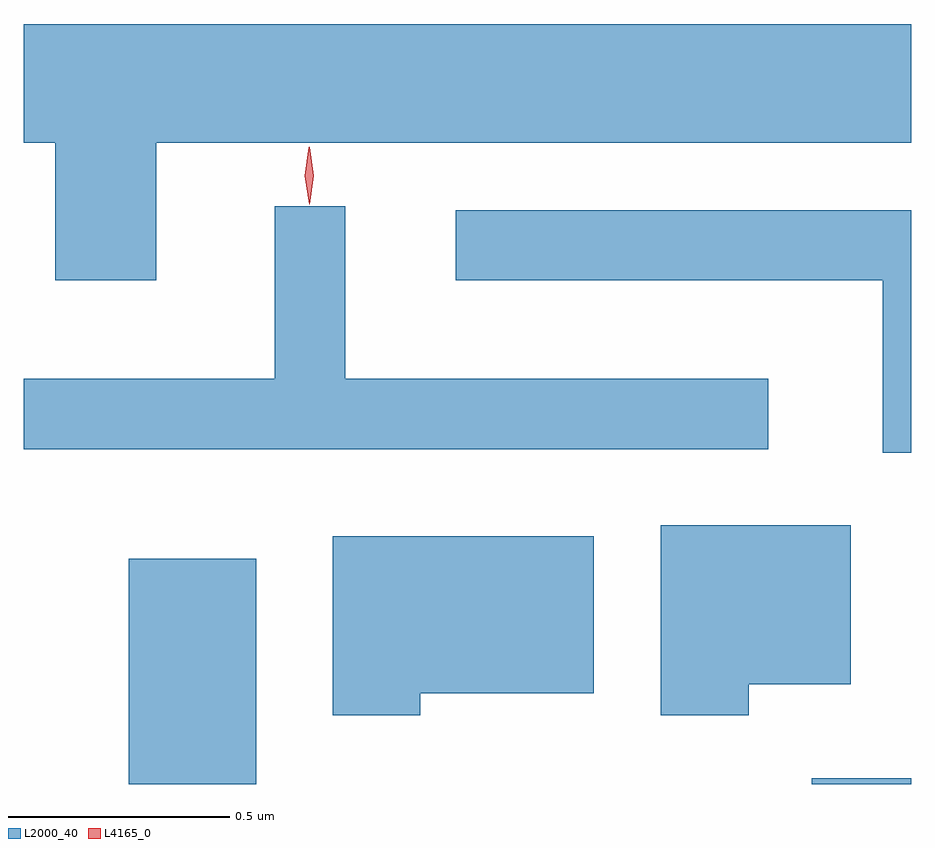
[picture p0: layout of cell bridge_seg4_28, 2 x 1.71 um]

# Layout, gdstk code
import gdstk
lib = gdstk.Library(unit=1e-6, precision=1e-09)
def R(c, l, rs):  # rectangles x0, y0, x1, y1
    for r in rs: c.add(gdstk.rectangle(r[:2], r[2:], *l))
def P(c, l, *ps):  # polygons
    for p in ps: c.add(gdstk.Polygon(p, *l))
L2000_40 = (2000, 40)
L4165_0 = (4165, 0)

bridge_seg4_28 = lib.new_cell('bridge_seg4_28')
R(bridge_seg4_28, L2000_40, [(1169.066,1268.871,1169.354,1269.379), (1170.606,1268.871,1170.83,1268.884)])
P(bridge_seg4_28, L2000_40, [(1169.129,1270.316),(1170.83,1270.316),(1170.83,1270.584),(1168.83,1270.584),(1168.83,1270.316),(1168.901,1270.316),(1168.901,1270.006),(1169.129,1270.006)],
  [(1170.508,1269.784),(1169.554,1269.784),(1169.554,1270.173),(1169.396,1270.173),(1169.396,1269.784),(1168.83,1269.784),(1168.83,1269.626),(1170.508,1269.626)],
  [(1170.83,1270.164),(1169.803,1270.164),(1169.803,1270.006),(1170.766,1270.006),(1170.766,1269.618),(1170.83,1269.618)],
  [(1170.464,1269.096),(1170.694,1269.096),(1170.694,1269.454),(1170.266,1269.454),(1170.266,1269.026),(1170.464,1269.026)],
  [(1169.724,1269.076),(1170.114,1269.076),(1170.114,1269.429),(1169.526,1269.429),(1169.526,1269.026),(1169.724,1269.026)])
P(bridge_seg4_28, L4165_0, [(1169.473,1270.178),(1169.473,1270.178),(1169.463,1270.242),(1169.472,1270.306),(1169.473,1270.307),(1169.474,1270.306),(1169.483,1270.242),(1169.474,1270.178)])

lib.write_gds('bridge_seg4_28.gds')
